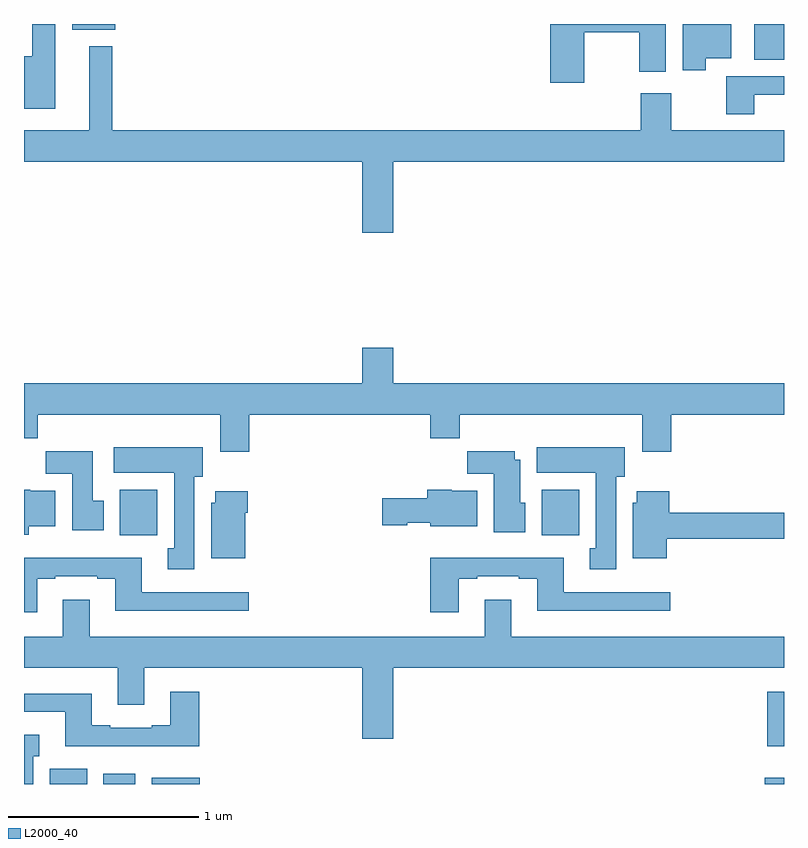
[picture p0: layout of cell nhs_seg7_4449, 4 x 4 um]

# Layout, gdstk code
import gdstk
lib = gdstk.Library(unit=1e-6, precision=1e-09)
def R(c, l, rs):  # rectangles x0, y0, x1, y1
    for r in rs: c.add(gdstk.rectangle(r[:2], r[2:], *l))
def P(c, l, *ps):  # polygons
    for p in ps: c.add(gdstk.Polygon(p, *l))
L2000_40 = (2000, 40)

nhs_seg7_4449 = lib.new_cell('nhs_seg7_4449')
R(nhs_seg7_4449, L2000_40, [(391.136,1004,391.333,1004.08), (391.418,1004,391.585,1004.053), (391.673,1004,391.924,1004.032), (394.898,1004,395,1004.032), (394.913,1004.198,395,1004.485), (391.505,1005.308,391.702,1005.55), (393.725,1005.308,393.922,1005.55), (394.844,1007.813,395,1008), (391.253,1007.969,391.48,1008)])
P(nhs_seg7_4449, L2000_40, [(391.165,1008),(391.044,1008),(391.044,1007.831),(391,1007.831),(391,1007.555),(391.165,1007.555)],
  [(394.588,1007.819),(394.723,1007.819),(394.723,1008),(394.466,1008),(394.466,1007.757),(394.588,1007.757)],
  [(393.948,1007.956),(394.237,1007.956),(394.237,1007.748),(394.378,1007.748),(394.378,1008),(393.77,1008),(393.77,1007.691),(393.948,1007.691)],
  [(392.944,1007.276),(395,1007.276),(395,1007.44),(394.407,1007.44),(394.407,1007.635),(394.247,1007.635),(394.247,1007.44),(391.465,1007.44),(391.465,1007.884),(391.343,1007.884),(391.343,1007.44),(391,1007.44),(391,1007.276),(392.78,1007.276),(392.78,1006.902),(392.944,1006.902)],
  [(394.843,1007.628),(395,1007.628),(395,1007.724),(394.696,1007.724),(394.696,1007.526),(394.843,1007.526)],
  [(393.137,1005.82),(393.293,1005.82),(393.293,1005.944),(394.253,1005.944),(394.253,1005.75),(394.406,1005.75),(394.406,1005.944),(395,1005.944),(395,1006.108),(392.944,1006.108),(392.944,1006.297),(392.78,1006.297),(392.78,1006.108),(391,1006.108),(391,1005.82),(391.073,1005.82),(391.073,1005.944),(392.033,1005.944),(392.033,1005.75),(392.186,1005.75),(392.186,1005.944),(393.137,1005.944)],
  [(394.117,1005.618),(394.162,1005.618),(394.162,1005.772),(393.698,1005.772),(393.698,1005.638),(394.01,1005.638),(394.01,1005.242),(393.977,1005.242),(393.977,1005.129),(394.117,1005.129)],
  [(391.897,1005.618),(391.942,1005.618),(391.942,1005.772),(391.473,1005.772),(391.473,1005.638),(391.79,1005.638),(391.79,1005.242),(391.757,1005.242),(391.757,1005.129),(391.897,1005.129)],
  [(393.637,1005.48),(393.613,1005.48),(393.613,1005.706),(393.583,1005.706),(393.583,1005.751),(393.334,1005.751),(393.334,1005.632),(393.473,1005.632),(393.473,1005.326),(393.637,1005.326)],
  [(391.42,1005.492),(391.363,1005.492),(391.363,1005.751),(391.114,1005.751),(391.114,1005.632),(391.253,1005.632),(391.253,1005.336),(391.42,1005.336)],
  [(391.024,1005.356),(391.165,1005.356),(391.165,1005.544),(391.032,1005.544),(391.032,1005.55),(391,1005.55),(391,1005.312),(391.024,1005.312)],
  [(393.385,1005.544),(393.252,1005.544),(393.252,1005.55),(393.122,1005.55),(393.122,1005.504),(392.886,1005.504),(392.886,1005.362),(393.018,1005.362),(393.018,1005.374),(393.138,1005.374),(393.138,1005.356),(393.385,1005.356)],
  [(394.384,1005.292),(395,1005.292),(395,1005.428),(394.397,1005.428),(394.397,1005.541),(394.226,1005.541),(394.226,1005.48),(394.205,1005.48),(394.205,1005.188),(394.384,1005.188)],
  [(392.164,1005.428),(392.177,1005.428),(392.177,1005.541),(392.006,1005.541),(392.006,1005.48),(391.985,1005.48),(391.985,1005.188),(392.164,1005.188)],
  [(391.069,1005.081),(391.165,1005.081),(391.165,1005.093),(391.385,1005.093),(391.385,1005.081),(391.481,1005.081),(391.481,1004.912),(392.182,1004.912),(392.182,1005.009),(391.621,1005.009),(391.621,1005.19),(391,1005.19),(391,1004.904),(391.069,1004.904)],
  [(393.289,1005.081),(393.385,1005.081),(393.385,1005.093),(393.605,1005.093),(393.605,1005.081),(393.701,1005.081),(393.701,1004.912),(394.402,1004.912),(394.402,1005.009),(393.841,1005.009),(393.841,1005.19),(393.137,1005.19),(393.137,1004.904),(393.289,1004.904)],
  [(392.944,1004.612),(395,1004.612),(395,1004.776),(393.565,1004.776),(393.565,1004.971),(393.425,1004.971),(393.425,1004.776),(391.345,1004.776),(391.345,1004.971),(391.205,1004.971),(391.205,1004.776),(391,1004.776),(391,1004.612),(391.493,1004.612),(391.493,1004.418),(391.633,1004.418),(391.633,1004.612),(392.78,1004.612),(392.78,1004.238),(392.944,1004.238)],
  [(391.922,1004.485),(391.769,1004.485),(391.769,1004.308),(391.673,1004.308),(391.673,1004.295),(391.453,1004.295),(391.453,1004.308),(391.357,1004.308),(391.357,1004.476),(391,1004.476),(391,1004.379),(391.217,1004.379),(391.217,1004.198),(391.922,1004.198)],
  [(391.048,1004.147),(391.081,1004.147),(391.081,1004.26),(391,1004.26),(391,1004),(391.048,1004)])

lib.write_gds('nhs_seg7_4449.gds')
